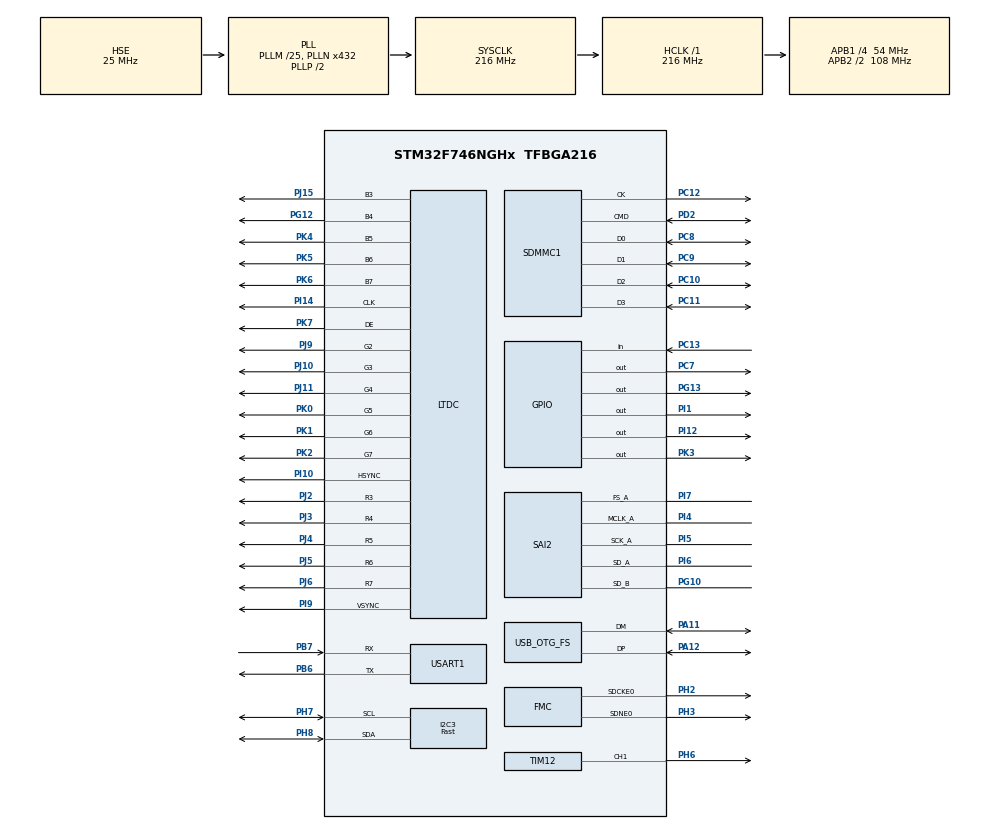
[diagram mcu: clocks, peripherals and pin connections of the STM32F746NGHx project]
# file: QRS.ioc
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Dma.Request0=SAI2_A
Dma.Request1=SAI2_B
Dma.Request2=SDMMC1_RX
Dma.Request3=SDMMC1_TX
Dma.SAI2_A.0.Direction=DMA_MEMORY_TO_PERIPH
Dma.SAI2_A.0.FIFOMode=DMA_FIFOMODE_DISABLE
Dma.SAI2_A.0.Instance=DMA2_Stream4
Dma.SAI2_A.0.MemDataAlignment=DMA_MDATAALIGN_HALFWORD
Dma.SAI2_A.0.MemInc=DMA_MINC_ENABLE
Dma.SAI2_A.0.Mode=DMA_CIRCULAR
Dma.SAI2_A.0.PeriphDataAlignment=DMA_PDATAALIGN_HALFWORD
Dma.SAI2_A.0.PeriphInc=DMA_PINC_DISABLE
Dma.SAI2_A.0.Priority=DMA_PRIORITY_LOW
Dma.SAI2_B.1.Direction=DMA_PERIPH_TO_MEMORY
Dma.SAI2_B.1.FIFOMode=DMA_FIFOMODE_DISABLE
Dma.SAI2_B.1.Instance=DMA2_Stream7
Dma.SAI2_B.1.MemDataAlignment=DMA_MDATAALIGN_HALFWORD
Dma.SAI2_B.1.MemInc=DMA_MINC_ENABLE
Dma.SAI2_B.1.Mode=DMA_CIRCULAR
Dma.SAI2_B.1.PeriphDataAlignment=DMA_PDATAALIGN_HALFWORD
Dma.SAI2_B.1.PeriphInc=DMA_PINC_DISABLE
Dma.SAI2_B.1.Priority=DMA_PRIORITY_LOW
Dma.SDMMC1_RX.2.Direction=DMA_PERIPH_TO_MEMORY
Dma.SDMMC1_RX.2.FIFOMode=DMA_FIFOMODE_ENABLE
Dma.SDMMC1_RX.2.FIFOThreshold=DMA_FIFO_THRESHOLD_FULL
Dma.SDMMC1_RX.2.Instance=DMA2_Stream3
Dma.SDMMC1_RX.2.MemBurst=DMA_MBURST_INC4
Dma.SDMMC1_RX.2.MemDataAlignment=DMA_MDATAALIGN_WORD
Dma.SDMMC1_RX.2.MemInc=DMA_MINC_ENABLE
Dma.SDMMC1_RX.2.Mode=DMA_PFCTRL
Dma.SDMMC1_RX.2.PeriphBurst=DMA_PBURST_INC4
Dma.SDMMC1_RX.2.PeriphDataAlignment=DMA_PDATAALIGN_WORD
Dma.SDMMC1_RX.2.PeriphInc=DMA_PINC_DISABLE
Dma.SDMMC1_RX.2.Priority=DMA_PRIORITY_LOW
Dma.SDMMC1_TX.3.Direction=DMA_MEMORY_TO_PERIPH
Dma.SDMMC1_TX.3.FIFOMode=DMA_FIFOMODE_ENABLE
Dma.SDMMC1_TX.3.FIFOThreshold=DMA_FIFO_THRESHOLD_FULL
Dma.SDMMC1_TX.3.Instance=DMA2_Stream6
Dma.SDMMC1_TX.3.MemBurst=DMA_MBURST_INC4
Dma.SDMMC1_TX.3.MemDataAlignment=DMA_MDATAALIGN_WORD
Dma.SDMMC1_TX.3.MemInc=DMA_MINC_ENABLE
Dma.SDMMC1_TX.3.Mode=DMA_PFCTRL
Dma.SDMMC1_TX.3.PeriphBurst=DMA_PBURST_INC4
Dma.SDMMC1_TX.3.PeriphDataAlignment=DMA_PDATAALIGN_WORD
Dma.SDMMC1_TX.3.PeriphInc=DMA_PINC_DISABLE
Dma.SDMMC1_TX.3.Priority=DMA_PRIORITY_LOW
FATFS.BSP.number=1
FATFS.USE_DMA_CODE_SD=1
FATFS0.BSP.STBoard=false
FATFS0.BSP.api=Unknown
FATFS0.BSP.i2caddr=0
FATFS0.BSP.instance=PC13
FATFS0.BSP.ip=GPIO
FATFS0.BSP.mode=Input
FATFS0.BSP.name=Detect_SDIO
FATFS0.BSP.solution=PC13
GRAPHICS.Check_OTM8009A_PixelFormat-STemWin=1
GRAPHICS.DMA2D_Graphics-STemWin=0
GRAPHICS.EA_1_Apptype=Window
GRAPHICS.EA_1_executable_name-STemWin=GUIBuilder.exe
GRAPHICS.GUI_NUM_LAYERS-STemWin=1
GRAPHICS.GUI_Num_KBYTES=10
GRAPHICS.LIN_Color_Conversion_Layer0=GUICC_M565
GRAPHICS.LIN_Frame_Buffer_Depth_Layer0-STemWin=16
GRAPHICS.OPTIM_OS_use-STemWin=4
GRAPHICS.USE_Embedded_Wizard-STemWin=0
GRAPHICS.USE_STTouchGFX-STemWin=0
GRAPHICS.UseGUIBuilder=Enabled
GRAPHICS.Use_SDRAM-STemWin=SDRAM1_BANK1
I2C3.I2C_Speed_Mode=I2C_Fast
I2C3.Timing=0x6000030D
LTDC.ActiveH=272
LTDC.ActiveW=480
LTDC.Alpha_L0=255
LTDC.FBStartAdress_L0=0x20010400
LTDC.HBP=43
LTDC.HFP=8
LTDC.HSync=1
LTDC.ImageHeight_L0=272
LTDC.ImageWidth_L0=480
LTDC.Layers=0
LTDC.PixelFormat_L0=LTDC_PIXEL_FORMAT_RGB565
LTDC.VBP=12
LTDC.VFP=4
LTDC.VSync=10
LTDC.WindowX1_L0=480
LTDC.WindowY1_L0=272
Mcu.Family=STM32F7
Mcu.Name=STM32F746NGHx
Mcu.Package=TFBGA216
NVIC.DMA2_Stream3_IRQn=true\:0\:0\:false\:false\:true\:false\:true
NVIC.DMA2_Stream4_IRQn=true\:0\:0\:false\:false\:true\:false\:true
NVIC.DMA2_Stream6_IRQn=true\:0\:0\:false\:false\:true\:false\:true
NVIC.DMA2_Stream7_IRQn=true\:0\:0\:false\:false\:true\:false\:true
NVIC.I2C3_EV_IRQn=true\:0\:0\:false\:false\:true\:true\:true
NVIC.PriorityGroup=NVIC_PRIORITYGROUP_4
NVIC.RTC_Alarm_IRQn=true\:0\:0\:false\:false\:true\:true\:true
NVIC.RTC_WKUP_IRQn=true\:0\:0\:false\:false\:true\:true\:true
NVIC.SAI2_IRQn=true\:0\:0\:false\:false\:true\:true\:true
NVIC.SDMMC1_IRQn=true\:0\:0\:false\:false\:true\:true\:true
NVIC.TIM2_IRQn=true\:0\:0\:false\:false\:true\:true\:true
NVIC.USART1_IRQn=true\:0\:0\:false\:false\:true\:true\:true
PA11.Mode=Device_Only
PA11.Signal=USB_OTG_FS_DM
PA12.Mode=Device_Only
PA12.Signal=USB_OTG_FS_DP
PA13.Mode=Trace_Asynchronous_SW
PA13.Signal=SYS_JTMS-SWDIO
PA14.Mode=Trace_Asynchronous_SW
PA14.Signal=SYS_JTCK-SWCLK
PB3.Mode=Trace_Asynchronous_SW
PB3.Signal=SYS_JTDO-SWO
PB6.Mode=Asynchronous
PB6.Signal=USART1_TX
PB7.Mode=Asynchronous
PB7.Signal=USART1_RX
PC10.Mode=SD_4_bits_Wide_bus
PC10.Signal=SDMMC1_D2
PC11.Mode=SD_4_bits_Wide_bus
PC11.Signal=SDMMC1_D3
PC12.Mode=SD_4_bits_Wide_bus
PC12.Signal=SDMMC1_CK
PC13.Signal=GPIO_Input
PC7.Signal=GPIO_Output
PC8.Mode=SD_4_bits_Wide_bus
PC8.Signal=SDMMC1_D0
PC9.Mode=SD_4_bits_Wide_bus
PC9.Signal=SDMMC1_D1
PD2.Mode=SD_4_bits_Wide_bus
PD2.Signal=SDMMC1_CMD
PG10.Mode=SAI_B_SyncSlave
PG10.Signal=SAI2_SD_B
PG12.Mode=RGB565
PG12.Signal=LTDC_B4
PG13.Signal=GPIO_Output
PH0/OSC_IN.Mode=HSE-External-Oscillator
PH0/OSC_IN.Signal=RCC_OSC_IN
PH1/OSC_OUT.Mode=HSE-External-Oscillator
PH1/OSC_OUT.Signal=RCC_OSC_OUT
PH2.Mode=SdramChipSelect1_1
PH2.Signal=FMC_SDCKE0
PH3.Mode=SdramChipSelect1_1
PH3.Signal=FMC_SDNE0
PH6.Signal=S_TIM12_CH1
PH7.Mode=I2C
PH7.Signal=I2C3_SCL
PH8.Mode=I2C
PH8.Signal=I2C3_SDA
PI1.Signal=GPIO_Output
PI10.Mode=RGB565
PI10.Signal=LTDC_HSYNC
PI12.PinState=GPIO_PIN_SET
PI12.Signal=GPIO_Output
PI14.Mode=RGB565
PI14.Signal=LTDC_CLK
PI4.Mode=SAI_A_MasterWithClock
PI4.Signal=SAI2_MCLK_A
PI5.Mode=SAI_A_MasterWithClock
PI5.Signal=SAI2_SCK_A
PI6.Mode=SAI_A_MasterWithClock
PI6.Signal=SAI2_SD_A
PI7.Mode=SAI_A_MasterWithClock
PI7.Signal=SAI2_FS_A
PI9.Mode=RGB565
PI9.Signal=LTDC_VSYNC
PJ10.Mode=RGB565
PJ10.Signal=LTDC_G3
PJ11.Mode=RGB565
PJ11.Signal=LTDC_G4
PJ15.Mode=RGB565
PJ15.Signal=LTDC_B3
PJ2.Mode=RGB565
PJ2.Signal=LTDC_R3
PJ3.Mode=RGB565
PJ3.Signal=LTDC_R4
PJ4.Mode=RGB565
PJ4.Signal=LTDC_R5
PJ5.Mode=RGB565
PJ5.Signal=LTDC_R6
PJ6.Mode=RGB565
PJ6.Signal=LTDC_R7
PJ9.Mode=RGB565
PJ9.Signal=LTDC_G2
PK0.Mode=RGB565
PK0.Signal=LTDC_G5
PK1.Mode=RGB565
PK1.Signal=LTDC_G6
PK2.Mode=RGB565
PK2.Signal=LTDC_G7
PK3.PinState=GPIO_PIN_SET
PK3.Signal=GPIO_Output
PK4.Mode=RGB565
PK4.Signal=LTDC_B5
PK5.Mode=RGB565
PK5.Signal=LTDC_B6
PK6.Mode=RGB565
PK6.Signal=LTDC_B7
PK7.Mode=RGB565
PK7.Signal=LTDC_DE
ProjectManager.HeapSize=0x9000
ProjectManager.StackSize=0x2000
ProjectManager.TargetToolchain=EWARM V8.32
RCC.AHBFreq_Value=216000000
RCC.APB1CLKDivider=RCC_HCLK_DIV4
RCC.APB1Freq_Value=54000000
RCC.APB1TimCLKDivider=2
RCC.APB1TimFreq_Value=108000000
RCC.APB2CLKDivider=RCC_HCLK_DIV2
RCC.APB2Freq_Value=108000000
RCC.APB2TimFreq_Value=216000000
RCC.CortexFreq_Value=216000000
RCC.HCLKFreq_Value=216000000
RCC.HSE_VALUE=25000000
RCC.HSI_VALUE=16000000
RCC.LSE_VALUE=32768
RCC.PLLI2SN=344
RCC.PLLI2SQ=7
RCC.PLLM=25
RCC.PLLN=432
RCC.PLLQ=9
RCC.PLLSAIN=200
RCC.PLLSAIR=5
RCC.PLLSAIRDiv=RCC_PLLSAIDIVR_4
RCC.PLLSourceVirtual=RCC_PLLSOURCE_HSE
RCC.SAI2CLockSelection=RCC_SAI2CLKSOURCE_PLLI2S
RCC.SDMMCClockSelection=RCC_SDMMC1CLKSOURCE_CLK48
RCC.SYSCLKFreq_VALUE=216000000
RCC.SYSCLKSource=RCC_SYSCLKSOURCE_PLLCLK
RCC.USBFreq_Value=48000000
RCC.VCOOutputFreq_Value=432000000
RTC.Alarm-Alarm\ A=RTC_ALARM_A
RTC.AlarmMaskDateWeekDay-Alarm\ A=RTC_ALARMMASK_DATEWEEKDAY
RTC.Format=RTC_FORMAT_BIN
RTC.Hours=8
RTC.Hours_A-Alarm\ A=9
RTC.Minutes_A-Alarm\ A=0
RTC.WakeUpClock-WakeUp=RTC_WAKEUPCLOCK_CK_SPRE_16BITS
RTC.WeekDay=RTC_WEEKDAY_WEDNESDAY
RTC.Year=25
SAI2.ActiveFrameLength-SAI_A_MasterWithClock=32
SAI2.ActiveFrameLength-SAI_B_SyncSlave=32
SAI2.AudioFrequency-SAI_A_MasterWithClock=SAI_AUDIO_FREQUENCY_16K
SAI2.ClockStrobing-SAI_A_MasterWithClock=SAI_CLOCKSTROBING_RISINGEDGE
SAI2.ClockStrobing-SAI_B_SyncSlave=SAI_CLOCKSTROBING_RISINGEDGE
SAI2.DataSize-SAI_A_MasterWithClock=SAI_DATASIZE_16
SAI2.DataSize-SAI_B_SyncSlave=SAI_DATASIZE_16
SAI2.ErrorAudioFreq-SAI_A_MasterWithClock=-0.01 %
SAI2.FIFOThreshold-SAI_A_MasterWithClock=SAI_FIFOTHRESHOLD_1QF
SAI2.FIFOThreshold-SAI_B_SyncSlave=SAI_FIFOTHRESHOLD_1QF
SAI2.FSDefinition-SAI_A_MasterWithClock=SAI_FS_CHANNEL_IDENTIFICATION
SAI2.FSDefinition-SAI_B_SyncSlave=SAI_FS_CHANNEL_IDENTIFICATION
SAI2.FrameLength-SAI_A_MasterWithClock=64
SAI2.FrameLength-SAI_B_SyncSlave=64
SAI2.Instance-SAI_A_MasterWithClock=SAI$Index_Block_A
SAI2.Instance-SAI_B_SyncSlave=SAI$Index_Block_B
SAI2.MClockEnable-SAI_A_MasterWithClock=SAI_MASTERCLOCK_ENABLE
SAI2.OutputDrive-SAI_A_MasterWithClock=SAI_OUTPUTDRIVE_ENABLE
SAI2.RealAudioFreq-SAI_A_MasterWithClock=15.997 KHz
SAI2.SlotActive-SAI_A_MasterWithClock=0x0000FFFF
SAI2.SlotActive-SAI_B_SyncSlave=0x0000FFFF
SAI2.SlotNumber-SAI_A_MasterWithClock=4
SAI2.SlotNumber-SAI_B_SyncSlave=4
SAI2.VirtualMode-SAI_A_MasterWithClock=VM_MASTER
SAI2.VirtualMode-SAI_B_SyncSlave=VM_SLAVE
SAI2.VirtualSlotActive-SAI_A_MasterWithClock=SAI_SLOTACTIVE_ALL
SAI2.VirtualSlotActive-SAI_B_SyncSlave=SAI_SLOTACTIVE_ALL
SH.S_TIM12_CH1.0=TIM12_CH1,PWM Generation1 CH1
TIM12.AutoReloadPreload=TIM_AUTORELOAD_PRELOAD_DISABLE
TIM12.Channel-PWM\ Generation1\ CH1=TIM_CHANNEL_1
TIM12.Prescaler=1000
USART1.VirtualMode-Asynchronous=VM_ASYNC
USB_DEVICE.CLASS_NAME_FS=MSC
USB_DEVICE.VirtualMode-MSC_FS=Msc
USB_DEVICE.VirtualModeFS=Msc_FS
USB_OTG_FS.VirtualMode=Device_Only
VP_CRC_VS_CRC.Mode=CRC_Activate
VP_FATFS_VS_SDIO.Mode=SDIO
VP_GRAPHICS_VS-DisplayInterface-LTDC.Mode=Display Parallel Interface using LTDC
VP_GRAPHICS_VS-STemWin.Mode=STemWin
VP_RTC_VS_RTC_Activate.Mode=RTC_Enabled
VP_RTC_VS_RTC_Alarm_A_Intern.Mode=Alarm A
VP_RTC_VS_RTC_Calendar.Mode=RTC_Calendar
VP_RTC_VS_RTC_WakeUp_intern.Mode=WakeUp
VP_TIM12_VS_ClockSourceINT.Mode=Internal
VP_TIM2_VS_ClockSourceINT.Mode=Internal
VP_USB_DEVICE_VS_USB_DEVICE_MSC_FS.Mode=MSC_FS
board=custom

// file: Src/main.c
/* USER CODE BEGIN Header */
/**
  ******************************************************************************
  * @file           : main.c
  * @brief          : Main program body
  ******************************************************************************
  * @attention
  *
  * <h2><center>&copy; Copyright (c) 2025 STMicroelectronics.
  * All rights reserved.</center></h2>
  *
  * This software component is licensed by ST under BSD 3-Clause license,
  * the "License"; You may not use this file except in compliance with the
  * License. You may obtain a copy of the License at:
  *                        opensource.org/licenses/BSD-3-Clause
  *
  ******************************************************************************
  */
/* USER CODE END Header */

#include "main.h"
#include "fatfs.h"
#include "usb_device.h"
#include <stdio.h>

CRC_HandleTypeDef hcrc;

I2C_HandleTypeDef hi2c3;

RTC_HandleTypeDef hrtc;

SAI_HandleTypeDef hsai_BlockA2;
SAI_HandleTypeDef hsai_BlockB2;
DMA_HandleTypeDef hdma_sai2_a;
DMA_HandleTypeDef hdma_sai2_b;

SD_HandleTypeDef hsd1;
DMA_HandleTypeDef hdma_sdmmc1_rx;
DMA_HandleTypeDef hdma_sdmmc1_tx;

TIM_HandleTypeDef htim2;
TIM_HandleTypeDef htim12;

UART_HandleTypeDef huart1;

void SystemClock_Config(void);
static void MX_GPIO_Init(void);
static void MX_CRC_Init(void);
extern void GRAPHICS_HW_Init(void);
extern void GRAPHICS_Init(void);
extern void GRAPHICS_MainTask(void);
static void MX_DMA_Init(void);
static void MX_I2C3_Init(void);
static void MX_SAI2_Init(void);
static void MX_TIM2_Init(void);
static void MX_USART1_UART_Init(void);
static void MX_SDMMC1_SD_Init(void);
static void MX_TIM12_Init(void);
static void MX_RTC_Init(void);

int main(void)
{

  /* MCU Configuration--------------------------------------------------------*/

  /* Reset of all peripherals, Initializes the Flash interface and the Systick. */
  HAL_Init();

  /* Configure the system clock */
  SystemClock_Config();

  /* Initialize all configured peripherals */
  MX_GPIO_Init();
  MX_CRC_Init();
  MX_DMA_Init();
  MX_I2C3_Init();
  MX_SAI2_Init();
  MX_TIM2_Init();
  MX_USART1_UART_Init();
  MX_SDMMC1_SD_Init();
  MX_TIM12_Init();
  MX_RTC_Init();
  MX_FATFS_Init();
  MX_USB_DEVICE_Init();
  /* USER CODE BEGIN 2 */
  // 开机音效
  HAL_TIM_PWM_Start(&htim12,TIM_CHANNEL_1);
  __HAL_TIM_SET_AUTORELOAD(&htim12, 196);
  __HAL_TIM_SET_COMPARE(&htim12, TIM_CHANNEL_1, 196/5);
  HAL_Delay(100);
  __HAL_TIM_SET_COMPARE(&htim12, TIM_CHANNEL_1, 0);
  HAL_Delay(100);
  __HAL_TIM_SET_AUTORELOAD(&htim12, 240);
  __HAL_TIM_SET_COMPARE(&htim12, TIM_CHANNEL_1, 240/5);
  HAL_Delay(100);
  __HAL_TIM_SET_COMPARE(&htim12, TIM_CHANNEL_1, 0);
  HAL_Delay(20);
  __HAL_TIM_SET_AUTORELOAD(&htim12, 196);
  __HAL_TIM_SET_COMPARE(&htim12, TIM_CHANNEL_1, 196/5);
  HAL_Delay(100);
  __HAL_TIM_SET_COMPARE(&htim12, TIM_CHANNEL_1, 0);
  HAL_Delay(100);
  __HAL_TIM_SET_AUTORELOAD(&htim12, 240);
  __HAL_TIM_SET_COMPARE(&htim12, TIM_CHANNEL_1, 240/5);
  HAL_Delay(100);
  __HAL_TIM_SET_COMPARE(&htim12, TIM_CHANNEL_1, 0);

  /* USER CODE END 2 */

/* Initialise the graphical hardware */
  GRAPHICS_HW_Init();

  /* Initialise the graphical stack engine */
  GRAPHICS_Init();

  /* Graphic application */
  GRAPHICS_MainTask();

  /* Infinite loop */
  for(;;);
}

void SystemClock_Config(void)
{
  RCC_OscInitTypeDef RCC_OscInitStruct = {0};
  RCC_ClkInitTypeDef RCC_ClkInitStruct = {0};
  RCC_PeriphCLKInitTypeDef PeriphClkInitStruct = {0};

  /** Configure the main internal regulator output voltage
  */
  __HAL_RCC_PWR_CLK_ENABLE();
  __HAL_PWR_VOLTAGESCALING_CONFIG(PWR_REGULATOR_VOLTAGE_SCALE1);
  /** Initializes the CPU, AHB and APB busses clocks
  */
  RCC_OscInitStruct.OscillatorType = RCC_OSCILLATORTYPE_LSI|RCC_OSCILLATORTYPE_HSE;
  RCC_OscInitStruct.HSEState = RCC_HSE_ON;
  RCC_OscInitStruct.LSIState = RCC_LSI_ON;
  RCC_OscInitStruct.PLL.PLLState = RCC_PLL_ON;
  RCC_OscInitStruct.PLL.PLLSource = RCC_PLLSOURCE_HSE;
  RCC_OscInitStruct.PLL.PLLM = 25;
  RCC_OscInitStruct.PLL.PLLN = 432;
  RCC_OscInitStruct.PLL.PLLP = RCC_PLLP_DIV2;
  RCC_OscInitStruct.PLL.PLLQ = 9;
  if (HAL_RCC_OscConfig(&RCC_OscInitStruct) != HAL_OK)
  {
    Error_Handler();
  }
  /** Activate the Over-Drive mode
  */
  if (HAL_PWREx_EnableOverDrive() != HAL_OK)
  {
    Error_Handler();
  }
  /** Initializes the CPU, AHB and APB busses clocks
  */
  RCC_ClkInitStruct.ClockType = RCC_CLOCKTYPE_HCLK|RCC_CLOCKTYPE_SYSCLK
                              |RCC_CLOCKTYPE_PCLK1|RCC_CLOCKTYPE_PCLK2;
  RCC_ClkInitStruct.SYSCLKSource = RCC_SYSCLKSOURCE_PLLCLK;
  RCC_ClkInitStruct.AHBCLKDivider = RCC_SYSCLK_DIV1;
  RCC_ClkInitStruct.APB1CLKDivider = RCC_HCLK_DIV4;
  RCC_ClkInitStruct.APB2CLKDivider = RCC_HCLK_DIV2;

  if (HAL_RCC_ClockConfig(&RCC_ClkInitStruct, FLASH_LATENCY_7) != HAL_OK)
  {
    Error_Handler();
  }
  PeriphClkInitStruct.PeriphClockSelection = RCC_PERIPHCLK_LTDC|RCC_PERIPHCLK_RTC
                              |RCC_PERIPHCLK_USART1|RCC_PERIPHCLK_SAI2
                              |RCC_PERIPHCLK_I2C3|RCC_PERIPHCLK_SDMMC1
                              |RCC_PERIPHCLK_CLK48;
  PeriphClkInitStruct.PLLI2S.PLLI2SN = 344;
  PeriphClkInitStruct.PLLI2S.PLLI2SP = RCC_PLLP_DIV2;
  PeriphClkInitStruct.PLLI2S.PLLI2SR = 2;
  PeriphClkInitStruct.PLLI2S.PLLI2SQ = 7;
  PeriphClkInitStruct.PLLSAI.PLLSAIN = 200;
  PeriphClkInitStruct.PLLSAI.PLLSAIR = 5;
  PeriphClkInitStruct.PLLSAI.PLLSAIQ = 2;
  PeriphClkInitStruct.PLLSAI.PLLSAIP = RCC_PLLSAIP_DIV2;
  PeriphClkInitStruct.PLLI2SDivQ = 1;
  PeriphClkInitStruct.PLLSAIDivQ = 1;
  PeriphClkInitStruct.PLLSAIDivR = RCC_PLLSAIDIVR_4;
  PeriphClkInitStruct.RTCClockSelection = RCC_RTCCLKSOURCE_LSI;
  PeriphClkInitStruct.Sai2ClockSelection = RCC_SAI2CLKSOURCE_PLLI2S;
  PeriphClkInitStruct.Usart1ClockSelection = RCC_USART1CLKSOURCE_PCLK2;
  PeriphClkInitStruct.I2c3ClockSelection = RCC_I2C3CLKSOURCE_PCLK1;
  PeriphClkInitStruct.Clk48ClockSelection = RCC_CLK48SOURCE_PLL;
  PeriphClkInitStruct.Sdmmc1ClockSelection = RCC_SDMMC1CLKSOURCE_CLK48;
  if (HAL_RCCEx_PeriphCLKConfig(&PeriphClkInitStruct) != HAL_OK)
  {
    Error_Handler();
  }
}

static void MX_CRC_Init(void)
{

  hcrc.Instance = CRC;
  hcrc.Init.DefaultPolynomialUse = DEFAULT_POLYNOMIAL_ENABLE;
  hcrc.Init.DefaultInitValueUse = DEFAULT_INIT_VALUE_ENABLE;
  hcrc.Init.InputDataInversionMode = CRC_INPUTDATA_INVERSION_NONE;
  hcrc.Init.OutputDataInversionMode = CRC_OUTPUTDATA_INVERSION_DISABLE;
  hcrc.InputDataFormat = CRC_INPUTDATA_FORMAT_BYTES;
  if (HAL_CRC_Init(&hcrc) != HAL_OK)
  {
    Error_Handler();
  }

}

static void MX_I2C3_Init(void)
{

  hi2c3.Instance = I2C3;
  hi2c3.Init.Timing = 0x6000030D;
  hi2c3.Init.OwnAddress1 = 0;
  hi2c3.Init.AddressingMode = I2C_ADDRESSINGMODE_7BIT;
  hi2c3.Init.DualAddressMode = I2C_DUALADDRESS_DISABLE;
  hi2c3.Init.OwnAddress2 = 0;
  hi2c3.Init.OwnAddress2Masks = I2C_OA2_NOMASK;
  hi2c3.Init.GeneralCallMode = I2C_GENERALCALL_DISABLE;
  hi2c3.Init.NoStretchMode = I2C_NOSTRETCH_DISABLE;
  if (HAL_I2C_Init(&hi2c3) != HAL_OK)
  {
    Error_Handler();
  }
  /** Configure Analogue filter
  */
  if (HAL_I2CEx_ConfigAnalogFilter(&hi2c3, I2C_ANALOGFILTER_ENABLE) != HAL_OK)
  {
    Error_Handler();
  }
  /** Configure Digital filter
  */
  if (HAL_I2CEx_ConfigDigitalFilter(&hi2c3, 0) != HAL_OK)
  {
    Error_Handler();
  }

}

static void MX_RTC_Init(void)
{

  RTC_TimeTypeDef sTime = {0};
  RTC_DateTypeDef sDate = {0};
  RTC_AlarmTypeDef sAlarm = {0};

  /** Initialize RTC Only
  */
  hrtc.Instance = RTC;
  hrtc.Init.HourFormat = RTC_HOURFORMAT_24;
  hrtc.Init.AsynchPrediv = 127;
  hrtc.Init.SynchPrediv = 255;
  if (HAL_RTC_Init(&hrtc) != HAL_OK)
  {
    Error_Handler();
  }

  /** Initialize RTC and set the Time and Date
  */
  sTime.Hours = 8;
  sTime.Minutes = 0;
  sTime.Seconds = 0;
  sTime.DayLightSaving = RTC_DAYLIGHTSAVING_NONE;
  sTime.StoreOperation = RTC_STOREOPERATION_RESET;
  if (HAL_RTC_SetTime(&hrtc, &sTime, RTC_FORMAT_BIN) != HAL_OK)
  {
    Error_Handler();
  }
  sDate.WeekDay = RTC_WEEKDAY_WEDNESDAY;
  sDate.Month = RTC_MONTH_JANUARY;
  sDate.Date = 1;
  sDate.Year = 25;
  if (HAL_RTC_SetDate(&hrtc, &sDate, RTC_FORMAT_BIN) != HAL_OK)
  {
    Error_Handler();
  }
  /** Enable the Alarm A
  */
  sAlarm.AlarmTime.Hours = 9;
  sAlarm.AlarmTime.Minutes = 0;
  sAlarm.AlarmTime.Seconds = 0;
  sAlarm.AlarmTime.SubSeconds = 0;
  sAlarm.AlarmTime.DayLightSaving = RTC_DAYLIGHTSAVING_NONE;
  sAlarm.AlarmTime.StoreOperation = RTC_STOREOPERATION_RESET;
  sAlarm.AlarmMask = RTC_ALARMMASK_DATEWEEKDAY;
  sAlarm.AlarmSubSecondMask = RTC_ALARMSUBSECONDMASK_ALL;
  sAlarm.AlarmDateWeekDaySel = RTC_ALARMDATEWEEKDAYSEL_DATE;
  sAlarm.AlarmDateWeekDay = 1;
  sAlarm.Alarm = RTC_ALARM_A;
  if (HAL_RTC_SetAlarm_IT(&hrtc, &sAlarm, RTC_FORMAT_BIN) != HAL_OK)
  {
    Error_Handler();
  }
  /** Enable the WakeUp
  */
  if (HAL_RTCEx_SetWakeUpTimer_IT(&hrtc, 0, RTC_WAKEUPCLOCK_CK_SPRE_16BITS) != HAL_OK)
  {
    Error_Handler();
  }

}

static void MX_SAI2_Init(void)
{

  hsai_BlockA2.Instance = SAI2_Block_A;
  hsai_BlockA2.Init.Protocol = SAI_FREE_PROTOCOL;
  hsai_BlockA2.Init.AudioMode = SAI_MODEMASTER_TX;
  hsai_BlockA2.Init.DataSize = SAI_DATASIZE_16;
  hsai_BlockA2.Init.FirstBit = SAI_FIRSTBIT_MSB;
  hsai_BlockA2.Init.ClockStrobing = SAI_CLOCKSTROBING_RISINGEDGE;
  hsai_BlockA2.Init.Synchro = SAI_ASYNCHRONOUS;
  hsai_BlockA2.Init.OutputDrive = SAI_OUTPUTDRIVE_ENABLE;
  hsai_BlockA2.Init.NoDivider = SAI_MASTERDIVIDER_ENABLE;
  hsai_BlockA2.Init.FIFOThreshold = SAI_FIFOTHRESHOLD_1QF;
  hsai_BlockA2.Init.AudioFrequency = SAI_AUDIO_FREQUENCY_16K;
  hsai_BlockA2.Init.SynchroExt = SAI_SYNCEXT_DISABLE;
  hsai_BlockA2.Init.MonoStereoMode = SAI_STEREOMODE;
  hsai_BlockA2.Init.CompandingMode = SAI_NOCOMPANDING;
  hsai_BlockA2.Init.TriState = SAI_OUTPUT_NOTRELEASED;
  hsai_BlockA2.FrameInit.FrameLength = 64;
  hsai_BlockA2.FrameInit.ActiveFrameLength = 32;
  hsai_BlockA2.FrameInit.FSDefinition = SAI_FS_CHANNEL_IDENTIFICATION;
  hsai_BlockA2.FrameInit.FSPolarity = SAI_FS_ACTIVE_LOW;
  hsai_BlockA2.FrameInit.FSOffset = SAI_FS_FIRSTBIT;
  hsai_BlockA2.SlotInit.FirstBitOffset = 0;
  hsai_BlockA2.SlotInit.SlotSize = SAI_SLOTSIZE_DATASIZE;
  hsai_BlockA2.SlotInit.SlotNumber = 4;
  hsai_BlockA2.SlotInit.SlotActive = 0x0000FFFF;
  if (HAL_SAI_Init(&hsai_BlockA2) != HAL_OK)
  {
    Error_Handler();
  }
  hsai_BlockB2.Instance = SAI2_Block_B;
  hsai_BlockB2.Init.Protocol = SAI_FREE_PROTOCOL;
  hsai_BlockB2.Init.AudioMode = SAI_MODESLAVE_RX;
  hsai_BlockB2.Init.DataSize = SAI_DATASIZE_16;
  hsai_BlockB2.Init.FirstBit = SAI_FIRSTBIT_MSB;
  hsai_BlockB2.Init.ClockStrobing = SAI_CLOCKSTROBING_RISINGEDGE;
  hsai_BlockB2.Init.Synchro = SAI_SYNCHRONOUS;
  hsai_BlockB2.Init.OutputDrive = SAI_OUTPUTDRIVE_DISABLE;
  hsai_BlockB2.Init.FIFOThreshold = SAI_FIFOTHRESHOLD_1QF;
  hsai_BlockB2.Init.SynchroExt = SAI_SYNCEXT_DISABLE;
  hsai_BlockB2.Init.MonoStereoMode = SAI_STEREOMODE;
  hsai_BlockB2.Init.CompandingMode = SAI_NOCOMPANDING;
  hsai_BlockB2.Init.TriState = SAI_OUTPUT_NOTRELEASED;
  hsai_BlockB2.FrameInit.FrameLength = 64;
  hsai_BlockB2.FrameInit.ActiveFrameLength = 32;
  hsai_BlockB2.FrameInit.FSDefinition = SAI_FS_CHANNEL_IDENTIFICATION;
  hsai_BlockB2.FrameInit.FSPolarity = SAI_FS_ACTIVE_LOW;
  hsai_BlockB2.FrameInit.FSOffset = SAI_FS_FIRSTBIT;
  hsai_BlockB2.SlotInit.FirstBitOffset = 0;
  hsai_BlockB2.SlotInit.SlotSize = SAI_SLOTSIZE_DATASIZE;
  hsai_BlockB2.SlotInit.SlotNumber = 4;
  hsai_BlockB2.SlotInit.SlotActive = 0x0000FFFF;
  if (HAL_SAI_Init(&hsai_BlockB2) != HAL_OK)
  {
    Error_Handler();
  }

}

static void MX_SDMMC1_SD_Init(void)
{

  hsd1.Instance = SDMMC1;
  hsd1.Init.ClockEdge = SDMMC_CLOCK_EDGE_RISING;
  hsd1.Init.ClockBypass = SDMMC_CLOCK_BYPASS_DISABLE;
  hsd1.Init.ClockPowerSave = SDMMC_CLOCK_POWER_SAVE_DISABLE;
  hsd1.Init.BusWide = SDMMC_BUS_WIDE_1B;
  hsd1.Init.HardwareFlowControl = SDMMC_HARDWARE_FLOW_CONTROL_DISABLE;
  hsd1.Init.ClockDiv = 0;

}

static void MX_TIM2_Init(void)
{

  TIM_ClockConfigTypeDef sClockSourceConfig = {0};
  TIM_MasterConfigTypeDef sMasterConfig = {0};

  htim2.Instance = TIM2;
  htim2.Init.Prescaler = 0;
  htim2.Init.CounterMode = TIM_COUNTERMODE_UP;
  htim2.Init.Period = 0;
  htim2.Init.ClockDivision = TIM_CLOCKDIVISION_DIV1;
  htim2.Init.AutoReloadPreload = TIM_AUTORELOAD_PRELOAD_DISABLE;
  if (HAL_TIM_Base_Init(&htim2) != HAL_OK)
  {
    Error_Handler();
  }
  sClockSourceConfig.ClockSource = TIM_CLOCKSOURCE_INTERNAL;
  if (HAL_TIM_ConfigClockSource(&htim2, &sClockSourceConfig) != HAL_OK)
  {
    Error_Handler();
  }
  sMasterConfig.MasterOutputTrigger = TIM_TRGO_RESET;
  sMasterConfig.MasterSlaveMode = TIM_MASTERSLAVEMODE_DISABLE;
  if (HAL_TIMEx_MasterConfigSynchronization(&htim2, &sMasterConfig) != HAL_OK)
  {
    Error_Handler();
  }

}

static void MX_TIM12_Init(void)
{

  TIM_ClockConfigTypeDef sClockSourceConfig = {0};
  TIM_OC_InitTypeDef sConfigOC = {0};

  htim12.Instance = TIM12;
  htim12.Init.Prescaler = 1000;
  htim12.Init.CounterMode = TIM_COUNTERMODE_UP;
  htim12.Init.Period = 0;
  htim12.Init.ClockDivision = TIM_CLOCKDIVISION_DIV1;
  htim12.Init.AutoReloadPreload = TIM_AUTORELOAD_PRELOAD_DISABLE;
  if (HAL_TIM_Base_Init(&htim12) != HAL_OK)
  {
    Error_Handler();
  }
  sClockSourceConfig.ClockSource = TIM_CLOCKSOURCE_INTERNAL;
  if (HAL_TIM_ConfigClockSource(&htim12, &sClockSourceConfig) != HAL_OK)
  {
    Error_Handler();
  }
  if (HAL_TIM_PWM_Init(&htim12) != HAL_OK)
  {
    Error_Handler();
  }
  sConfigOC.OCMode = TIM_OCMODE_PWM1;
  sConfigOC.Pulse = 0;
  sConfigOC.OCPolarity = TIM_OCPOLARITY_HIGH;
  sConfigOC.OCFastMode = TIM_OCFAST_DISABLE;
  if (HAL_TIM_PWM_ConfigChannel(&htim12, &sConfigOC, TIM_CHANNEL_1) != HAL_OK)
  {
    Error_Handler();
  }
  HAL_TIM_MspPostInit(&htim12);

}

static void MX_USART1_UART_Init(void)
{

  huart1.Instance = USART1;
  huart1.Init.BaudRate = 115200;
  huart1.Init.WordLength = UART_WORDLENGTH_8B;
  huart1.Init.StopBits = UART_STOPBITS_1;
  huart1.Init.Parity = UART_PARITY_NONE;
  huart1.Init.Mode = UART_MODE_TX_RX;
  huart1.Init.HwFlowCtl = UART_HWCONTROL_NONE;
  huart1.Init.OverSampling = UART_OVERSAMPLING_16;
  huart1.Init.OneBitSampling = UART_ONE_BIT_SAMPLE_DISABLE;
  huart1.AdvancedInit.AdvFeatureInit = UART_ADVFEATURE_NO_INIT;
  if (HAL_UART_Init(&huart1) != HAL_OK)
  {
    Error_Handler();
  }

}

static void MX_DMA_Init(void)
{

  /* DMA controller clock enable */
  __HAL_RCC_DMA2_CLK_ENABLE();

  /* DMA interrupt init */
  /* DMA2_Stream3_IRQn interrupt configuration */
  HAL_NVIC_SetPriority(DMA2_Stream3_IRQn, 0, 0);
  HAL_NVIC_EnableIRQ(DMA2_Stream3_IRQn);
  /* DMA2_Stream4_IRQn interrupt configuration */
  HAL_NVIC_SetPriority(DMA2_Stream4_IRQn, 0, 0);
  HAL_NVIC_EnableIRQ(DMA2_Stream4_IRQn);
  /* DMA2_Stream6_IRQn interrupt configuration */
  HAL_NVIC_SetPriority(DMA2_Stream6_IRQn, 0, 0);
  HAL_NVIC_EnableIRQ(DMA2_Stream6_IRQn);
  /* DMA2_Stream7_IRQn interrupt configuration */
  HAL_NVIC_SetPriority(DMA2_Stream7_IRQn, 0, 0);
  HAL_NVIC_EnableIRQ(DMA2_Stream7_IRQn);

}

static void MX_GPIO_Init(void)
{
  GPIO_InitTypeDef GPIO_InitStruct = {0};

  /* GPIO Ports Clock Enable */
  __HAL_RCC_GPIOB_CLK_ENABLE();
  __HAL_RCC_GPIOC_CLK_ENABLE();
  __HAL_RCC_GPIOA_CLK_ENABLE();
  __HAL_RCC_GPIOG_CLK_ENABLE();
  __HAL_RCC_GPIOI_CLK_ENABLE();
  __HAL_RCC_GPIOK_CLK_ENABLE();
  __HAL_RCC_GPIOJ_CLK_ENABLE();
  __HAL_RCC_GPIOD_CLK_ENABLE();
  __HAL_RCC_GPIOH_CLK_ENABLE();

  /*Configure GPIO pin Output Level */
  HAL_GPIO_WritePin(GPIOG, GPIO_PIN_13, GPIO_PIN_RESET);

  /*Configure GPIO pin Output Level */
  HAL_GPIO_WritePin(GPIOK, GPIO_PIN_3, GPIO_PIN_SET);

  /*Configure GPIO pin Output Level */
  HAL_GPIO_WritePin(GPIOI, GPIO_PIN_1, GPIO_PIN_RESET);

  /*Configure GPIO pin Output Level */
  HAL_GPIO_WritePin(GPIOI, GPIO_PIN_12, GPIO_PIN_SET);

  /*Configure GPIO pin Output Level */
  HAL_GPIO_WritePin(GPIOC, GPIO_PIN_7, GPIO_PIN_RESET);

  /*Configure GPIO pin : PG13 */
  GPIO_InitStruct.Pin = GPIO_PIN_13;
  GPIO_InitStruct.Mode = GPIO_MODE_OUTPUT_PP;
  GPIO_InitStruct.Pull = GPIO_NOPULL;
  GPIO_InitStruct.Speed = GPIO_SPEED_FREQ_LOW;
  HAL_GPIO_Init(GPIOG, &GPIO_InitStruct);

  /*Configure GPIO pin : PC13 */
  GPIO_InitStruct.Pin = GPIO_PIN_13;
  GPIO_InitStruct.Mode = GPIO_MODE_INPUT;
  GPIO_InitStruct.Pull = GPIO_NOPULL;
  HAL_GPIO_Init(GPIOC, &GPIO_InitStruct);

  /*Configure GPIO pin : PK3 */
  GPIO_InitStruct.Pin = GPIO_PIN_3;
  GPIO_InitStruct.Mode = GPIO_MODE_OUTPUT_PP;
  GPIO_InitStruct.Pull = GPIO_NOPULL;
  GPIO_InitStruct.Speed = GPIO_SPEED_FREQ_LOW;
  HAL_GPIO_Init(GPIOK, &GPIO_InitStruct);

  /*Configure GPIO pins : PI1 PI12 */
  GPIO_InitStruct.Pin = GPIO_PIN_1|GPIO_PIN_12;
  GPIO_InitStruct.Mode = GPIO_MODE_OUTPUT_PP;
  GPIO_InitStruct.Pull = GPIO_NOPULL;
  GPIO_InitStruct.Speed = GPIO_SPEED_FREQ_LOW;
  HAL_GPIO_Init(GPIOI, &GPIO_InitStruct);

  /*Configure GPIO pin : PC7 */
  GPIO_InitStruct.Pin = GPIO_PIN_7;
  GPIO_InitStruct.Mode = GPIO_MODE_OUTPUT_PP;
  GPIO_InitStruct.Pull = GPIO_NOPULL;
  GPIO_InitStruct.Speed = GPIO_SPEED_FREQ_LOW;
  HAL_GPIO_Init(GPIOC, &GPIO_InitStruct);

}

void Error_Handler(void)
{
}

/************************ (C) COPYRIGHT STMicroelectronics *****END OF FILE****/
